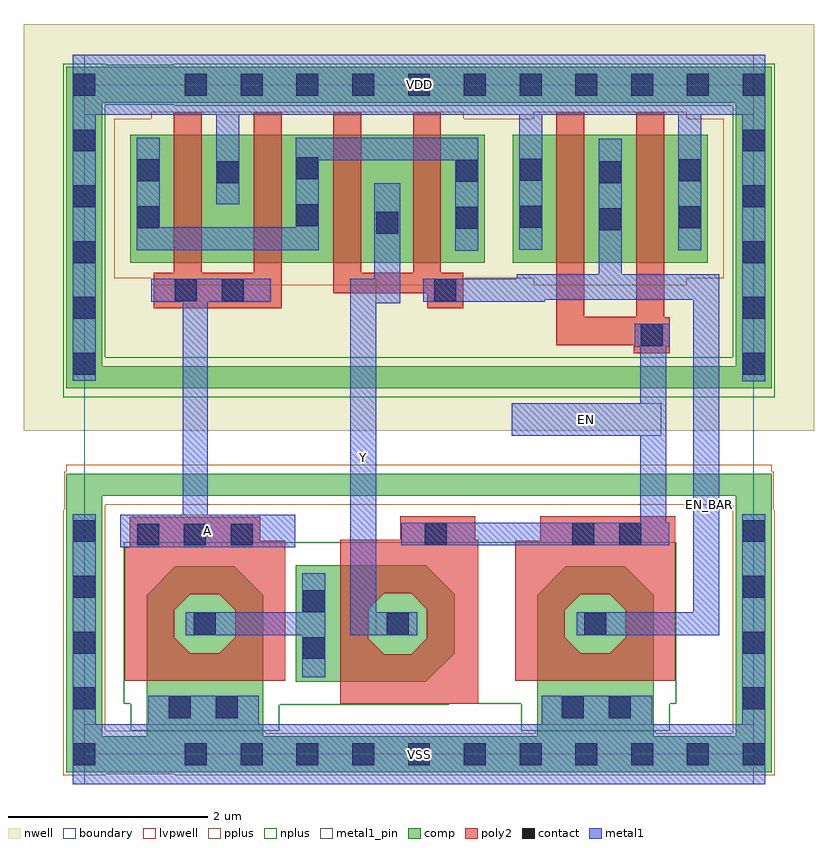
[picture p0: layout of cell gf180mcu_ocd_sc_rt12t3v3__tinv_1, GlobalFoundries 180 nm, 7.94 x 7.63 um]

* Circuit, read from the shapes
.subckt gf180mcu_ocd_sc_rt12t3v3__tinv_1 A EN EN_BAR VDD VSS Y
XM1 n1 A VSS VSS nfet_03v3 w=1.785u l=0.5364u
XM2 Y EN n1 VSS nfet_03v3 w=1.785u l=0.532u
XM3 EN_BAR EN VSS VSS nfet_03v3 w=1.785u l=0.5342u
XM4 VDD A n2 VDD pfet_03v3 w=1.285u l=0.28u m=2
XM5 Y EN_BAR n2 VDD pfet_03v3 w=1.285u l=0.28u m=2
XM6 EN_BAR EN VDD VDD pfet_03v3 w=1.285u l=0.28u m=2
.ends

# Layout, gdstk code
import gdstk
lib = gdstk.Library(unit=1e-6, precision=1e-09)
def R(c, l, rs):  # rectangles x0, y0, x1, y1
    for r in rs: c.add(gdstk.rectangle(r[:2], r[2:], *l))
def A(c, l, x, y, w, h, nx, ny, dx, dy):  # array of equal rectangles
    R(c, l, [(x+i*dx, y+j*dy, x+i*dx+w, y+j*dy+h) for i in range(nx) for j in range(ny)])
def P(c, l, *ps):  # polygons
    for p in ps: c.add(gdstk.Polygon(p, *l))
boundary = (0, 0)
nwell = (21, 0)
comp = (22, 0)
poly2 = (30, 0)
pplus = (31, 0)
nplus = (32, 0)
contact = (33, 0)
metal1 = (34, 0)
metal1_pin = (34, 10)
lvpwell = (204, 0)

gf180mcu_ocd_sc_rt12t3v3 = lib.new_cell('gf180mcu_ocd_sc_rt12t3v3__tinv_1')
R(gf180mcu_ocd_sc_rt12t3v3, boundary, [(0,0,6.72,6.72)])
R(gf180mcu_ocd_sc_rt12t3v3, nwell, [(-0.61,3.245,7.33,7.33)])
R(gf180mcu_ocd_sc_rt12t3v3, comp, [(-0.18,-0.18,6.9,0.18), (-0.18,0.18,0.18,2.595), (0.625,0.18,1.795,1.595), (4.545,0.18,5.715,1.595), (6.54,0.18,6.9,2.595), (2.125,0.725,3.43,1.015), (2.125,1.015,3.72,1.605), (0.915,1.595,1.505,1.885), (4.835,1.595,5.425,1.885), (2.125,1.605,3.43,1.895), (-0.18,2.595,6.9,2.815), (-0.18,3.675,6.9,3.895), (-0.18,3.895,0.18,6.54), (6.54,3.895,6.9,6.54), (0.46,4.935,4.02,6.22), (4.3,4.935,6.26,6.22), (-0.18,6.54,6.9,6.9)])
P(gf180mcu_ocd_sc_rt12t3v3, comp, [(0.625,1.595),(0.915,1.595),(0.915,1.885)],
  [(1.505,1.885),(1.505,1.595),(1.795,1.595)],
  [(3.43,1.895),(3.43,1.605),(3.72,1.605)],
  [(3.43,0.725),(3.43,1.015),(3.72,1.015)],
  [(4.545,1.595),(4.835,1.595),(4.835,1.885)],
  [(5.425,1.885),(5.425,1.595),(5.715,1.595)])
A(gf180mcu_ocd_sc_rt12t3v3, poly2, 0.9, 4.835, 0.28, 1.605, 4, 1, 0.8, 0)
R(gf180mcu_ocd_sc_rt12t3v3, poly2, [(2.57,0.505,3.955,1.005), (0.405,0.735,2.015,1.015), (4.325,0.735,5.935,1.015), (2.57,1.005,2.85,1.615), (3.43,1.005,3.955,1.155), (0.405,1.015,0.905,1.595), (1.515,1.015,2.015,1.595), (4.325,1.015,4.825,1.595), (5.435,1.015,5.935,1.595), (3.44,1.155,3.955,1.465), (3.43,1.465,3.955,1.615), (0.405,1.595,1.055,1.605), (1.365,1.595,2.015,1.605), (4.325,1.595,4.975,1.605), (5.285,1.595,5.935,1.605), (0.405,1.605,2.015,2.075), (4.325,1.605,5.935,2.14), (2.57,1.615,3.955,2.15), (0.455,2.075,2.015,2.14), (0.455,2.14,1.765,2.385), (4.575,2.14,5.935,2.39), (3.17,2.15,3.925,2.39), (5.515,4.025,5.875,4.105), (4.74,4.105,5.875,4.385), (4.74,4.385,5.82,4.39), (4.74,4.39,5.02,6.44), (5.54,4.39,5.82,6.44), (0.695,4.475,1.98,4.835), (3.445,4.475,3.805,4.625), (2.5,4.625,3.805,4.835)])
P(gf180mcu_ocd_sc_rt12t3v3, poly2, [(1.055,1.595),(1.055,1.605),(1.065,1.605)],
  [(1.355,1.605),(1.365,1.605),(1.365,1.595)],
  [(0.905,1.445),(0.905,1.595),(1.055,1.595)],
  [(1.365,1.595),(1.515,1.595),(1.515,1.445)],
  [(0.905,1.175),(0.905,1.015),(1.065,1.015)],
  [(1.355,1.015),(1.515,1.015),(1.515,1.175)],
  [(2.85,1.455),(2.85,1.615),(3.01,1.615)],
  [(3.28,1.615),(3.43,1.615),(3.43,1.465)],
  [(3.43,1.465),(3.44,1.465),(3.44,1.455)],
  [(2.85,1.165),(2.85,1.005),(3.01,1.005)],
  [(3.43,1.155),(3.44,1.155),(3.44,1.165)],
  [(3.28,1.005),(3.43,1.005),(3.43,1.155)],
  [(4.975,1.595),(4.975,1.605),(4.985,1.605)],
  [(5.275,1.605),(5.285,1.605),(5.285,1.595)],
  [(4.825,1.445),(4.825,1.595),(4.975,1.595)],
  [(5.285,1.595),(5.435,1.595),(5.435,1.445)],
  [(4.825,1.175),(4.825,1.015),(4.985,1.015)],
  [(5.275,1.015),(5.435,1.015),(5.435,1.175)])
R(gf180mcu_ocd_sc_rt12t3v3, pplus, [(-0.21,-0.21,0.21,-0.2), (0.91,-0.21,6.93,-0.2), (-0.21,-0.2,6.93,0.21), (-0.21,0.21,1.815,0.235), (4.525,0.21,5.735,0.235), (6.51,0.21,6.93,2.45), (-0.21,0.235,0.21,2.45), (-0.2,2.45,0.21,2.505), (6.51,2.45,6.92,2.505), (-0.2,2.505,6.92,2.835), (-0.18,2.835,6.9,2.905), (0.67,4.705,3.81,4.775), (4.51,4.705,6.05,4.775), (0.3,4.775,6.42,6.38), (0.67,6.38,3.81,6.45), (4.51,6.38,6.05,6.45)])
R(gf180mcu_ocd_sc_rt12t3v3, nplus, [(0.465,0.235,1.955,0.495), (4.385,0.235,5.875,0.505), (0.465,0.495,3.66,0.505), (0.395,0.505,5.945,2.125), (-0.21,3.585,6.93,3.985), (-0.21,3.985,0.21,6.52), (6.51,3.985,6.93,6.51), (0.91,6.51,6.93,6.52), (-0.21,6.52,6.93,6.92), (-0.21,6.92,0.21,6.93), (0.91,6.92,6.93,6.93)])
P(gf180mcu_ocd_sc_rt12t3v3, nplus, [(3.66,0.495),(3.66,0.505),(3.67,0.505)])
A(gf180mcu_ocd_sc_rt12t3v3, contact, -0.11, -0.11, 0.22, 0.22, 1, 5, 0, 0.56)
A(gf180mcu_ocd_sc_rt12t3v3, contact, 1.01, -0.11, 0.22, 0.22, 11, 2, 0.56, 6.72)
A(gf180mcu_ocd_sc_rt12t3v3, contact, 6.61, 0.45, 0.22, 0.22, 1, 4, 0, 0.56)
A(gf180mcu_ocd_sc_rt12t3v3, contact, 0.53, 2.095, 0.22, 0.22, 3, 1, 0.47, 0)
A(gf180mcu_ocd_sc_rt12t3v3, contact, -0.11, 3.81, 0.22, 0.22, 1, 6, 0, 0.56)
A(gf180mcu_ocd_sc_rt12t3v3, contact, 6.61, 3.81, 0.22, 0.22, 1, 5, 0, 0.56)
R(gf180mcu_ocd_sc_rt12t3v3, contact, [(0.85,0.36,1.07,0.58), (1.32,0.36,1.54,0.58), (4.795,0.36,5.015,0.58), (5.265,0.36,5.485,0.58), (2.195,0.955,2.415,1.175), (1.1,1.2,1.32,1.42), (3.035,1.2,3.255,1.42), (5.02,1.2,5.24,1.42), (2.195,1.425,2.415,1.645), (3.42,2.1,3.64,2.32), (4.9,2.1,5.12,2.32), (5.37,2.1,5.59,2.32), (5.585,4.095,5.805,4.315), (0.91,4.545,1.13,4.765), (1.38,4.545,1.6,4.765), (3.515,4.545,3.735,4.765), (2.93,5.225,3.15,5.445), (5.17,5.26,5.39,5.48), (3.73,5.275,3.95,5.495), (0.53,5.28,0.75,5.5), (5.97,5.28,6.19,5.5), (4.37,5.285,4.59,5.505), (2.13,5.3,2.35,5.52), (1.33,5.73,1.55,5.95), (5.17,5.73,5.39,5.95), (3.73,5.745,3.95,5.965), (0.53,5.75,0.75,5.97), (5.97,5.75,6.19,5.97), (4.37,5.755,4.59,5.975), (2.13,5.77,2.35,5.99)])
R(gf180mcu_ocd_sc_rt12t3v3, metal1, [(-0.115,-0.3,6.835,0.3), (-0.115,0.3,0.115,2.41), (0.64,0.3,1.75,0.585), (4.59,0.3,5.7,0.585), (6.605,0.3,6.835,2.41), (2.19,0.77,2.42,1.195), (1.02,1.195,2.42,1.425), (2.67,1.195,3.34,1.425), (4.945,1.195,6.375,1.425), (2.19,1.425,2.42,1.815), (2.67,1.425,2.93,4.525), (6.115,1.425,6.375,4.56), (0.36,2.075,2.12,2.405), (3.18,2.095,5.87,2.325), (5.58,2.325,5.84,3.195), (0.99,2.405,1.24,4.54), (4.29,3.195,5.84,3.525), (5.58,3.525,5.84,4.09), (6.605,3.745,6.835,6.42), (-0.115,3.75,0.115,6.42), (5.525,4.09,5.875,4.32), (2.67,4.525,3.17,4.77), (0.67,4.54,1.87,4.77), (3.405,4.54,4.62,4.56), (3.405,4.56,6.375,4.77), (2.91,4.77,3.17,5.73), (4.34,4.77,6.375,4.82), (5.165,4.82,5.395,6.18), (3.725,5.055,3.955,5.96), (0.525,5.06,2.355,5.29), (5.965,5.06,6.195,6.42), (4.365,5.065,4.595,6.42), (0.525,5.29,0.755,6.19), (2.125,5.29,2.355,5.96), (1.325,5.52,1.555,6.42), (2.125,5.96,3.955,6.19), (-0.115,6.42,6.835,7.02)])
R(gf180mcu_ocd_sc_rt12t3v3, metal1_pin, [(0,-0.3,6.72,0.3), (2.67,1.195,2.93,4.77), (0.36,2.075,2.12,2.405), (4.29,3.195,5.79,3.525), (0,6.42,6.72,7.02)])
R(gf180mcu_ocd_sc_rt12t3v3, lvpwell, [(-0.18,-0.18,6.9,2.815)])
gf180mcu_ocd_sc_rt12t3v3.add(gdstk.Label('EN_BAR', (6.275,2.51), layer=34, texttype=0))
gf180mcu_ocd_sc_rt12t3v3.add(gdstk.Label('A', (1.24,2.24), layer=34, texttype=10))
gf180mcu_ocd_sc_rt12t3v3.add(gdstk.Label('EN', (5.04,3.36), layer=34, texttype=10))
gf180mcu_ocd_sc_rt12t3v3.add(gdstk.Label('Y', (2.8,2.982), layer=34, texttype=10))
gf180mcu_ocd_sc_rt12t3v3.add(gdstk.Label('VDD', (3.36,6.72), layer=34, texttype=10))
gf180mcu_ocd_sc_rt12t3v3.add(gdstk.Label('VSS', (3.36,0), layer=34, texttype=10))

lib.write_gds('gf180mcu_ocd_sc_rt12t3v3__tinv_1.gds')
